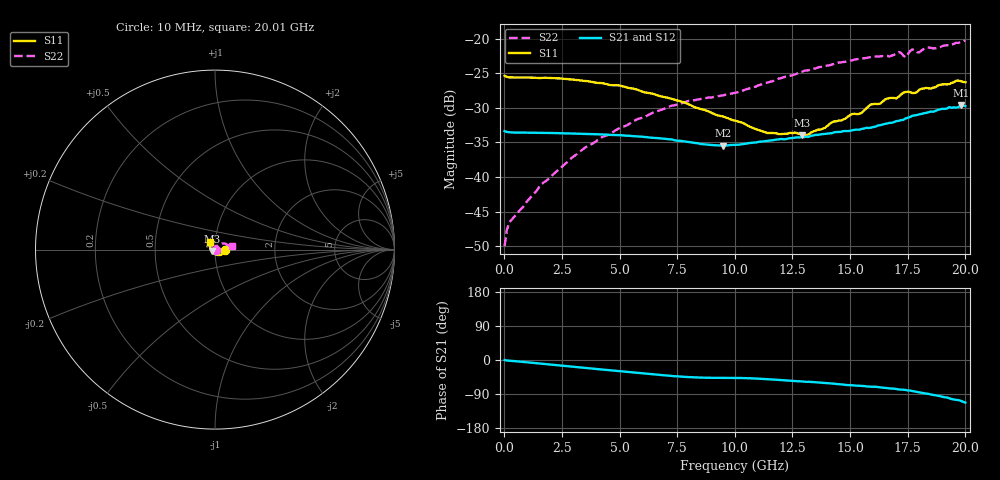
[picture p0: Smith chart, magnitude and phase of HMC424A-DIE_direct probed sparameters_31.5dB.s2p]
!s2p File: Measurements: S11, S21, S12, S22
# GHz S dB R 50.0
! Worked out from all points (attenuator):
!   201 points, 10 MHz to 20.01 GHz, reference 50 ohm
!   highest |S21| = -29.61 dB at 19.81 GHz (marker M1); lowest = -35.5 dB at 9.51 GHz (marker M2)
!   lowest |S11| = -34.0 dB at 12.91 GHz (marker M3), VSWR 1.04, Z = 48.2 - j0.777 ohm
!   |S11| at or under -10 dB: start of sweep to end of sweep
!   |S22| runs from -50.0 to -20.3 dB; largest |S21 - S12| = 0.00032
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0.01  -25.37 -0.3  -33.37 -0.1  -33.38 -0.5  -49.99 -24.6
0.11  -25.55 -1.5  -33.50 -1.3  -33.49 -1.3  -47.61 -127.9
0.21  -25.61 -1.9  -33.54 -1.7  -33.53 -1.8  -46.57 -159.0
1.61  -25.69 -10.5  -33.63 -9.7  -33.63 -9.7  -41.03 117.5
3.41  -26.10 -23.8  -33.76 -20.3  -33.76 -20.2  -36.01 90.5
5.01  -26.79 -37.0  -33.96 -29.7  -33.97 -29.6  -32.91 77.0
6.71  -28.27 -51.8  -34.41 -39.2  -34.41 -39.1  -30.42 64.9
8.01  -29.51 -64.0  -34.95 -45.1  -34.96 -45.0  -29.01 55.5
9.51  -31.26 -84.3  -35.46 -47.0  -35.45 -47.1  -28.19 48.4
10.01  -31.86 -91.7  -35.37 -47.4  -35.38 -47.3  -27.84 47.1
11.41  -33.64 -119.9  -34.80 -50.5  -34.79 -50.5  -26.37 43.7
12.91  -33.95 -156.3  -34.20 -56.6  -34.19 -56.7  -24.81 37.3
13.41  -33.43 -168.1  -33.99 -58.1  -34.01 -58.0  -24.35 34.7
15.21  -30.86 157.9  -33.18 -67.4  -33.18 -67.1  -23.02 24.9
16.71  -28.60 137.7  -32.18 -74.9  -32.17 -74.9  -22.60 17.8
17.11  -28.42 136.6  -31.89 -77.5  -31.82 -77.5  -21.95 16.5
17.41  -27.73 132.8  -31.55 -78.9  -31.57 -79.4  -22.72 16.1
17.71  -27.88 128.9  -31.15 -82.0  -31.24 -82.3  -21.57 15.0
18.01  -27.39 127.8  -30.94 -85.3  -31.00 -85.1  -22.00 14.7
18.31  -27.13 123.4  -30.74 -88.8  -30.75 -88.6  -21.30 14.4
19.81  -26.17 119.5  -29.61 -107.7  -29.60 -107.5  -20.55 10.5
20.01  -26.31 121.6  -29.76 -112.4  -29.73 -112.3  -20.28 10.3
